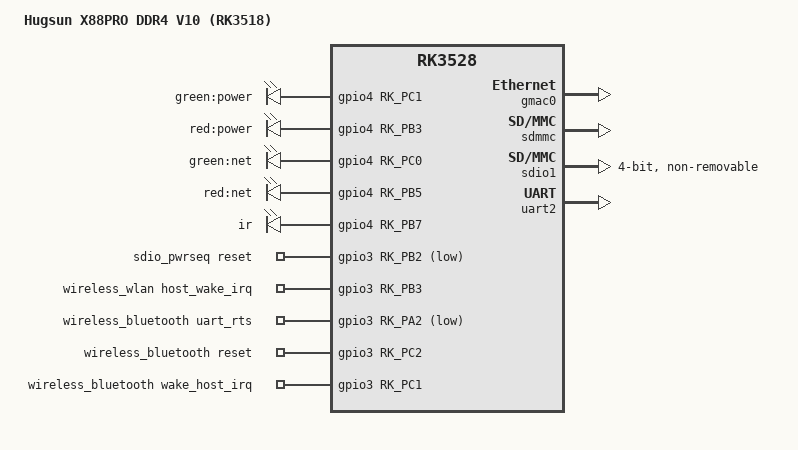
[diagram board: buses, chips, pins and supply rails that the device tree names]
// SPDX-License-Identifier: (GPL-2.0+ OR MIT)
/*
 * Hugsun X88PRO DDR4 V10 (RK3518) Android TV box, sold as "TV98".
 *
 * Linux DT for the Rockchip vendor 6.1 kernel. Based on the RK3518 EVB1
 * DDR4 reference design; every board-specific pin below is taken from the
 * stock Android DT (rk3518_x88pro_ddr4_v10, dumped from /proc/device-tree).
 */

/dts-v1/;

#include "rk3518.dtsi"
#include "rk3518-evb.dtsi"
#include "rk3528-linux.dtsi"

/ {
	model = "Hugsun X88PRO DDR4 V10 (RK3518)";
	compatible = "hugsun,x88pro-ddr4-v10", "rockchip,rk3518", "rockchip,rk3528";

	/* Console comes from armbianEnv.txt (ttyFIQ0); uart2 belongs to Bluetooth. */
	/delete-node/ chosen;

	aliases {
		mmc0 = &sdhci;
		mmc1 = &sdmmc;
		mmc2 = &sdio1;
	};

	/*
	 * The EVB OTG VBUS switch sits on gpio4 PC1, which is the green power
	 * LED on this board. The stock DT feeds the OTG port from vcc5v0_host.
	 */
	/delete-node/ vcc5v0-otg-regulator;

	leds {
		compatible = "gpio-leds";

		led-power-green {
			label = "green:power";
			gpios = <&gpio4 RK_PC1 GPIO_ACTIVE_HIGH>;
			linux,default-trigger = "default-on";
			default-state = "on";
		};

		led-power-red {
			label = "red:power";
			gpios = <&gpio4 RK_PB3 GPIO_ACTIVE_HIGH>;
			default-state = "off";
		};

		led-net-green {
			label = "green:net";
			gpios = <&gpio4 RK_PC0 GPIO_ACTIVE_HIGH>;
			default-state = "off";
		};

		led-net-red {
			label = "red:net";
			gpios = <&gpio4 RK_PB5 GPIO_ACTIVE_HIGH>;
			default-state = "off";
		};

		led-ir {
			label = "ir";
			gpios = <&gpio4 RK_PB7 GPIO_ACTIVE_HIGH>;
			default-state = "off";
		};
	};

	/* WIFI_REG_ON is gpio3 PB2; the stock DT has no 32k clock output for the module. */
	sdio_pwrseq: sdio-pwrseq {
		compatible = "mmc-pwrseq-simple";
		pinctrl-names = "default";
		pinctrl-0 = <&wifi_enable_h>;
		post-power-on-delay-ms = <200>;
		reset-gpios = <&gpio3 RK_PB2 GPIO_ACTIVE_LOW>;
		status = "okay";
	};

	wireless_wlan: wireless-wlan {
		compatible = "wlan-platdata";
		rockchip,grf = <&grf>;
		/* Stock DT leaves this empty so the driver autodetects the SDIO module. */
		wifi_chip_type = "";
		pinctrl-names = "default";
		pinctrl-0 = <&wifi_host_wake_irq>;
		WIFI,host_wake_irq = <&gpio3 RK_PB3 GPIO_ACTIVE_HIGH>;
		status = "okay";
	};

	wireless_bluetooth: wireless-bluetooth {
		compatible = "bluetooth-platdata";
		uart_rts_gpios = <&gpio3 RK_PA2 GPIO_ACTIVE_LOW>;
		pinctrl-names = "default", "rts_gpio";
		pinctrl-0 = <&uart2m0_rtsn>;
		pinctrl-1 = <&uart2m0_gpios>;
		BT,reset_gpio = <&gpio3 RK_PC2 GPIO_ACTIVE_HIGH>;
		BT,wake_host_irq = <&gpio3 RK_PC1 GPIO_ACTIVE_HIGH>;
		status = "okay";
	};
};

&vcc5v0_host {
	gpio = <&gpio4 RK_PB4 GPIO_ACTIVE_HIGH>;
};

&vcc5v0_host_en {
	rockchip,pins = <4 RK_PB4 RK_FUNC_GPIO &pcfg_pull_none>;
};

&u2phy_otg {
	/delete-property/ vbus-supply;
	phy-supply = <&vcc5v0_host>;
};

&u2phy_host {
	phy-supply = <&vcc5v0_host>;
};

&gmac0 {
	status = "okay";
};

/* eMMC: the stock DT runs HS200 capped at 50 MHz; HS400 is not used on this board. */
&sdhci {
	/delete-property/ mmc-hs400-1_8v;
	/delete-property/ mmc-hs400-enhanced-strobe;
	mmc-hs200-1_8v;
	fixed-emmc-driver-type = <4>;
	max-frequency = <50000000>;
};

/*
 * SD: the stock DT runs high-speed at 3.3 V only. UHS (inherited from the EVB)
 * makes the card switch to 1.8 V signalling, which fails here with command
 * timeouts, so drop the UHS modes.
 */
&sdmmc {
	/delete-property/ sd-uhs-sdr12;
	/delete-property/ sd-uhs-sdr25;
	/delete-property/ sd-uhs-sdr50;
	/delete-property/ sd-uhs-sdr104;
	status = "okay";
};

&sdio1 {
	max-frequency = <150000000>;
	no-sd;
	no-mmc;
	supports-sdio;
	bus-width = <4>;
	disable-wp;
	cap-sd-highspeed;
	cap-sdio-irq;
	keep-power-in-suspend;
	non-removable;
	mmc-pwrseq = <&sdio_pwrseq>;
	pinctrl-names = "default";
	pinctrl-0 = <&sdio1_bus4 &sdio1_cmd &sdio1_clk>;
	sd-uhs-sdr104;
	status = "okay";
};

&uart2 {
	pinctrl-names = "default";
	pinctrl-0 = <&uart2m0_xfer &uart2m0_ctsn>;
	status = "okay";
};

/* Remote control keymaps from the stock DT (in addition to the EVB ones). */
&pwm3 {
	ir_key6 {
		rockchip,usercode = <0xfe01>;
		rockchip,key_table =
			<0xec	232>,
			<0xe6	158>,
			<0xe9	103>,
			<0xe5	108>,
			<0xae	105>,
			<0xaf	106>,
			<0xee	102>,
			<0xe7	115>,
			<0xef	114>,
			<0xbf	116>,
			<0xbe	113>,
			<0xb3	139>,
			<0xff	388>,
			<0xb1	2>,
			<0xf2	3>,
			<0xf3	4>,
			<0xb5	5>,
			<0xf6	6>,
			<0xf7	7>,
			<0xb9	8>,
			<0xfa	9>,
			<0xfb	10>,
			<0xfe	11>,
			<0xbb	189>,
			<0xaa	168>,
			<0xa5	164>,
			<0xad	128>,
			<0xab	208>,
			<0xbd	14>,
			<0xbc	141>,
			<0xf0	184>;
	};

	ir_key12 {
		rockchip,usercode = <0x7f80>;
		rockchip,key_table =
			<0xec	232>,
			<0xd8	158>,
			<0xc7	103>,
			<0xbf	108>,
			<0xc8	105>,
			<0xc6	106>,
			<0x8c	102>,
			<0x78	115>,
			<0x76	114>,
			<0x7e	116>,
			<0xed	116>,
			<0x7c	139>,
			<0xb7	388>;
	};

	ir_key15 {
		rockchip,usercode = <0xdf00>;
		rockchip,key_table =
			<0xe3	116>,
			<0x0e	63>,
			<0x0d	66>,
			<0xef	68>,
			<0x0c	62>,
			<0x0b	69>,
			<0x99	248>,
			<0xfc	102>,
			<0xf5	158>,
			<0xbe	227>,
			<0xf3	11>,
			<0xe5	103>,
			<0xb8	105>,
			<0xf9	232>,
			<0xf8	106>,
			<0xb7	108>,
			<0xbd	388>,
			<0xe7	139>,
			<0xf7	113>,
			<0xb0	114>,
			<0xb4	115>,
			<0xa3	114>,
			<0xa2	115>,
			<0xa1	141>,
			<0xfe	104>,
			<0xa0	109>;
	};

	ir_key14 {
		rockchip,usercode = <0x707>;
		rockchip,key_table =
			<0xfd	116>,
			<0xc1	164>,
			<0xec	388>,
			<0x9f	103>,
			<0x9a	105>,
			<0x97	232>,
			<0x9d	106>,
			<0x9e	108>,
			<0xd2	102>,
			<0xe5	139>,
			<0xed	168>,
			<0xef	208>,
			<0x77	231>,
			<0xf8	115>,
			<0xf4	114>,
			<0xa3	14>,
			<0xf0	113>;
	};

	ir_key13 {
		rockchip,usercode = <0x4040>;
		rockchip,key_table =
			<0xe5	102>,
			<0xbd	158>,
			<0xba	139>,
			<0xf2	232>,
			<0xf4	103>,
			<0xf1	108>,
			<0xef	105>,
			<0xee	106>,
			<0xe3	114>,
			<0xea	115>,
			<0xe8	114>,
			<0xe7	115>,
			<0xbc	113>,
			<0xb2	116>,
			<0x4d	116>,
			<0xb8	388>,
			<0xbb	388>,
			<0xac	183>,
			<0xa4	184>,
			<0xa8	185>,
			<0xab	186>,
			<0xe0	123>,
			<0xe1	122>,
			<0xfe	2>,
			<0xfd	3>,
			<0xfc	4>,
			<0xfb	5>,
			<0xfa	6>,
			<0xf9	7>,
			<0xf8	8>,
			<0xf7	9>,
			<0xf6	10>,
			<0xff	11>,
			<0xf0	57>,
			<0xf3	14>;
	};

	ir_key5 {
		rockchip,usercode = <0xf708>;
		rockchip,key_table =
			<0xf5	113>,
			<0xfc	141>,
			<0xf4	116>,
			<0x8c	183>,
			<0x8b	184>,
			<0x8a	185>,
			<0x89	186>,
			<0xfa	187>,
			<0xbd	102>,
			<0xed	103>,
			<0xea	105>,
			<0xe1	232>,
			<0xeb	106>,
			<0xbe	158>,
			<0xec	108>,
			<0xe8	139>,
			<0xf1	115>,
			<0xef	104>,
			<0xe3	114>,
			<0xee	109>,
			<0x8f	388>,
			<0x8e	128>;
	};

	ir_key4 {
		rockchip,usercode = <0xf709>;
		rockchip,key_table =
			<0xf5	116>,
			<0xdd	248>,
			<0xff	103>,
			<0xfe	108>,
			<0xfd	106>,
			<0xfc	105>,
			<0xe0	232>,
			<0xf3	102>,
			<0xb5	388>,
			<0xe3	158>,
			<0xa7	115>,
			<0xa2	114>,
			<0xe5	139>,
			<0x7f	141>,
			<0xe4	67>,
			<0xf2	113>,
			<0xae	104>,
			<0xad	109>,
			<0x8d	63>,
			<0x79	66>,
			<0x8c	62>,
			<0x8e	69>;
	};

	ir_key16 {
		rockchip,usercode = <0x807f>;
		rockchip,key_table =
			<0x7e	116>;
	};
};

&pinctrl {
	sdio-pwrseq {
		wifi_enable_h: wifi-enable-h {
			rockchip,pins = <3 RK_PB2 RK_FUNC_GPIO &pcfg_pull_none>;
		};
	};

	wireless-wlan {
		wifi_host_wake_irq: wifi-host-wake-irq {
			rockchip,pins = <3 RK_PB3 RK_FUNC_GPIO &pcfg_pull_down>;
		};
	};

	wireless-bluetooth {
		uart2m0_gpios: uart2m0-gpios {
			rockchip,pins = <3 RK_PA2 RK_FUNC_GPIO &pcfg_pull_none>;
		};
	};
};
